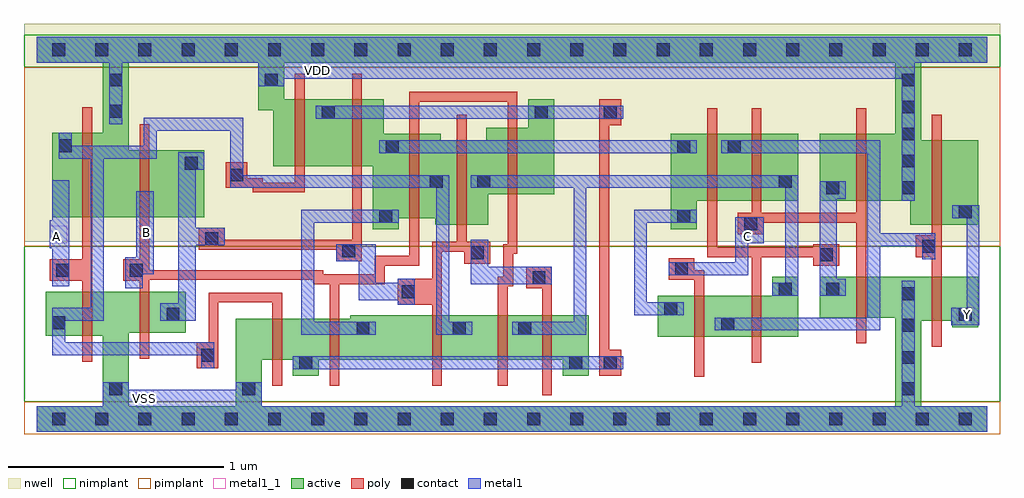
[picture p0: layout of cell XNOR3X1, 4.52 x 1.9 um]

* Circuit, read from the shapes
.subckt XNOR3X1 A B C VDD VSS Y
M1 VSS A n1 VSS nfet w=0.205u l=0.045u
M2 n2 B VSS VSS nfet w=0.19u l=0.045u
M3 n3 n1 VSS VSS nfet w=0.19u l=0.045u
M4 n4 B n3 VSS nfet w=0.19u l=0.045u
M5 n1 n2 n4 VSS nfet w=0.205u l=0.045u
M6 n5 B n1 VSS nfet w=0.205u l=0.045u
M7 n3 n2 n5 VSS nfet w=0.205u l=0.045u
M8 n6 C n4 VSS nfet w=0.19u l=0.045u
M9 n5 n7 n6 VSS nfet w=0.19u l=0.045u
M10 VSS C n7 VSS nfet w=0.19u l=0.045u
M11 Y n6 VSS VSS nfet w=0.205u l=0.045u
M12 VDD A n1 VDD pfet w=0.39u l=0.045u
M13 n2 B VDD VDD pfet w=0.31u l=0.045u
M14 n3 n1 VDD VDD pfet w=0.31u l=0.045u
M15 n4 n2 n3 VDD pfet w=0.31u l=0.045u
M16 n1 B n4 VDD pfet w=0.39u l=0.045u
M17 n5 n2 n1 VDD pfet w=0.39u l=0.045u
M18 n3 B n5 VDD pfet w=0.31u l=0.045u
M19 n6 n7 n4 VDD pfet w=0.31u l=0.045u
M20 n5 C n6 VDD pfet w=0.31u l=0.045u
M21 VDD C n7 VDD pfet w=0.31u l=0.045u
M22 Y n6 VDD VDD pfet w=0.39u l=0.045u
.ends

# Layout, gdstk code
import gdstk
lib = gdstk.Library(unit=1e-6, precision=5e-10)
def R(c, l, rs):  # rectangles x0, y0, x1, y1
    for r in rs: c.add(gdstk.rectangle(r[:2], r[2:], *l))
def A(c, l, x, y, w, h, nx, ny, dx, dy):  # array of equal rectangles
    R(c, l, [(x+i*dx, y+j*dy, x+i*dx+w, y+j*dy+h) for i in range(nx) for j in range(ny)])
def P(c, l, *ps):  # polygons
    for p in ps: c.add(gdstk.Polygon(p, *l))
active = (1, 0)
nwell = (2, 0)
poly = (3, 0)
nimplant = (4, 0)
pimplant = (5, 0)
contact = (6, 0)
metal1 = (7, 0)
metal1_1 = (7, 1)

xnor3x1 = lib.new_cell('XNOR3X1')
P(xnor3x1, active, [(2.935,1.32),(3.525,1.32),(3.525,1.01),(3.055,1.01),(3.055,0.88),(2.935,0.88)],
  [(0,1.77),(4.4,1.77),(4.4,1.65),(4.095,1.65),(4.095,1.29),(4.36,1.29),(4.36,0.9),(4.045,0.9),(4.045,1.01),(3.625,1.01),(3.625,1.32),(3.975,1.32),(3.975,1.65),(1.145,1.65),(1.145,1.48),(1.605,1.48),(1.605,1.32),(1.87,1.32),(1.87,1.29),(2.08,1.29),(2.08,1.35),(2.275,1.35),(2.275,1.48),(2.395,1.48),(2.395,1.04),(2.09,1.04),(2.09,0.9),(1.845,0.9),(1.845,0.93),(1.675,0.93),(1.675,0.88),(1.555,0.88),(1.555,1.17),(1.095,1.17),(1.095,1.43),(1.025,1.43),(1.025,1.65),(0.425,1.65),(0.425,1.245),(0.775,1.245),(0.775,0.935),(0.07,0.935),(0.07,1.325),(0.305,1.325),(0.305,1.65),(0,1.65)],
  [(0.04,0.59),(0.69,0.59),(0.69,0.4),(0.425,0.4),(0.425,0.06),(0.92,0.06),(0.92,0.465),(1.45,0.465),(1.45,0.48),(2.555,0.48),(2.555,0.2),(2.435,0.2),(2.435,0.275),(1.305,0.275),(1.305,0.2),(1.185,0.2),(1.185,0.275),(1.04,0.275),(1.04,0.06),(3.975,0.06),(3.975,0.47),(3.625,0.47),(3.625,0.66),(4.36,0.66),(4.36,0.425),(4.24,0.425),(4.24,0.455),(4.095,0.455),(4.095,0.06),(4.4,0.06),(4.4,-0.06),(0,-0.06),(0,0.06),(0.305,0.06),(0.305,0.385),(0.04,0.385)],
  [(3.405,0.66),(3.525,0.66),(3.525,0.38),(2.875,0.38),(2.875,0.57),(3.405,0.57)])
R(xnor3x1, nwell, [(-0.06,0.82,4.46,1.83)])
P(xnor3x1, poly, [(0.21,1.445),(0.255,1.445),(0.255,0.265),(0.21,0.265),(0.21,0.64),(0.06,0.64),(0.06,0.74),(0.21,0.74)],
  [(1.725,1.515),(2.225,1.515),(2.225,0.765),(2.205,0.765),(2.205,0.615),(2.18,0.615),(2.18,0.155),(2.135,0.155),(2.135,0.66),(2.16,0.66),(2.16,0.81),(2.18,0.81),(2.18,1.47),(1.77,1.47),(1.77,0.71),(1.61,0.71),(1.61,0.625),(1.4,0.625),(1.4,0.155),(1.355,0.155),(1.355,0.625),(1.28,0.625),(1.28,0.645),(0.52,0.645),(0.52,0.28),(0.475,0.28),(0.475,0.64),(0.4,0.64),(0.4,0.74),(0.475,0.74),(0.475,1.365),(0.52,1.365),(0.52,0.69),(1.325,0.69),(1.325,0.67),(1.565,0.67),(1.565,0.755),(1.725,0.755)],
  [(3.105,1.44),(3.15,1.44),(3.15,0.795),(3.595,0.795),(3.595,0.81),(3.715,0.81),(3.715,0.71),(3.595,0.71),(3.595,0.75),(3.355,0.75),(3.355,0.26),(3.31,0.26),(3.31,0.75),(3.105,0.75)],
  [(0.875,1.19),(0.975,1.19),(0.975,1.115),(1.045,1.115),(1.045,1.095),(1.195,1.095),(1.195,1.6),(1.24,1.6),(1.24,1.05),(1,1.05),(1,1.07),(0.875,1.07)],
  [(0.75,0.885),(0.87,0.885),(0.87,0.83),(1.46,0.83),(1.46,1.6),(1.505,1.6),(1.505,0.73),(1.385,0.73),(1.385,0.785),(0.75,0.785)],
  [(1.945,1.41),(1.99,1.41),(1.99,0.82),(2.1,0.82),(2.1,0.72),(1.98,0.72),(1.98,0.775),(1.875,0.775),(1.875,0.155),(1.83,0.155),(1.83,0.53),(1.67,0.53),(1.67,0.65),(1.83,0.65),(1.83,0.82),(1.945,0.82)],
  [(2.605,1.48),(2.705,1.48),(2.705,1.36),(2.65,1.36),(2.65,0.32),(2.705,0.32),(2.705,0.2),(2.605,0.2)],
  [(3.31,1.44),(3.355,1.44),(3.355,0.955),(3.795,0.955),(3.795,1.44),(3.84,1.44),(3.84,0.35),(3.795,0.35),(3.795,0.91),(3.365,0.91),(3.365,0.855),(3.245,0.855),(3.245,0.955),(3.31,0.955)],
  [(4.145,1.41),(4.19,1.41),(4.19,0.335),(4.145,0.335),(4.145,0.75),(4.07,0.75),(4.07,0.85),(4.145,0.85)],
  [(0.795,0.585),(1.135,0.585),(1.135,0.155),(1.09,0.155),(1.09,0.54),(0.84,0.54),(0.84,0.235),(0.74,0.235),(0.74,0.355),(0.795,0.355)],
  [(2.265,0.705),(2.385,0.705),(2.385,0.11),(2.34,0.11),(2.34,0.605),(2.265,0.605)],
  [(2.925,0.745),(3.045,0.745),(3.045,0.69),(3.09,0.69),(3.09,0.195),(3.045,0.195),(3.045,0.645),(2.925,0.645)])
R(xnor3x1, nimplant, [(-0.06,0.08,4.46,0.8), (-0.06,1.63,4.46,1.78)])
R(xnor3x1, pimplant, [(-0.06,-0.07,4.46,0.08), (-0.06,0.8,4.46,1.63)])
A(xnor3x1, contact, 0.07, -0.03, 0.06, 0.06, 22, 2, 0.2, 1.71)
A(xnor3x1, contact, 4.005, 1.04, 0.06, 0.06, 1, 5, 0, 0.125)
R(xnor3x1, contact, [(0.335,0.11,0.395,0.17), (0.95,0.11,1.01,0.17), (4.005,0.11,4.065,0.17), (1.215,0.23,1.275,0.29), (2.465,0.23,2.525,0.29), (2.625,0.23,2.685,0.29), (4.005,0.255,4.065,0.315), (0.76,0.265,0.82,0.325), (1.48,0.39,1.54,0.45), (1.925,0.39,1.985,0.45), (2.23,0.39,2.29,0.45), (4.005,0.405,4.065,0.465), (3.17,0.41,3.23,0.47), (0.07,0.415,0.13,0.475), (0.6,0.455,0.66,0.515), (4.27,0.455,4.33,0.515), (2.905,0.48,2.965,0.54), (4.005,0.55,4.065,0.61), (1.69,0.56,1.75,0.62), (3.435,0.57,3.495,0.63), (3.655,0.57,3.715,0.63), (2.295,0.625,2.355,0.685), (0.09,0.66,0.15,0.72), (0.43,0.66,0.49,0.72), (2.955,0.665,3.015,0.725), (3.625,0.73,3.685,0.79), (2.01,0.74,2.07,0.8), (1.415,0.75,1.475,0.81), (4.1,0.77,4.16,0.83), (0.78,0.805,0.84,0.865), (3.275,0.875,3.335,0.935), (1.585,0.91,1.645,0.97), (2.965,0.91,3.025,0.97), (4.27,0.93,4.33,0.99), (3.655,1.04,3.715,1.1), (1.82,1.07,1.88,1.13), (2.04,1.07,2.1,1.13), (3.435,1.07,3.495,1.13), (0.895,1.1,0.955,1.16), (0.685,1.155,0.745,1.215), (1.615,1.23,1.675,1.29), (2.965,1.23,3.025,1.29), (3.2,1.23,3.26,1.29), (0.1,1.235,0.16,1.295), (1.32,1.39,1.38,1.45), (2.305,1.39,2.365,1.45), (2.625,1.39,2.685,1.45), (0.335,1.395,0.395,1.455), (0.335,1.54,0.395,1.6), (1.055,1.54,1.115,1.6)])
R(xnor3x1, metal1, [(1.185,0.23,2.715,0.29), (1.585,1.23,3.055,1.29), (1.29,1.39,2.715,1.45)])
P(xnor3x1, metal1, [(0,1.77),(4.4,1.77),(4.4,1.65),(4.065,1.65),(4.065,1.01),(4.005,1.01),(4.005,1.575),(1.145,1.575),(1.145,1.54),(1.025,1.54),(1.025,1.65),(0.395,1.65),(0.395,1.365),(0.335,1.365),(0.335,1.65),(0,1.65)],
  [(0.495,1.395),(0.955,1.395),(0.955,1.13),(1.91,1.13),(1.91,0.45),(2.015,0.45),(2.015,0.39),(1.85,0.39),(1.85,1.07),(0.895,1.07),(0.895,1.335),(0.555,1.335),(0.555,1.205),(0.31,1.205),(0.31,0.455),(0.13,0.455),(0.13,0.355),(0.82,0.355),(0.82,0.235),(0.76,0.235),(0.76,0.295),(0.07,0.295),(0.07,0.515),(0.25,0.515),(0.25,1.205),(0.1,1.205),(0.1,1.325),(0.16,1.325),(0.16,1.265),(0.495,1.265)],
  [(3.17,1.29),(3.905,1.29),(3.905,0.86),(4.16,0.86),(4.16,0.74),(4.1,0.74),(4.1,0.8),(3.905,0.8),(3.905,0.41),(3.14,0.41),(3.14,0.47),(3.845,0.47),(3.845,1.23),(3.17,1.23)],
  [(0.655,1.235),(0.775,1.235),(0.775,1.155),(0.735,1.155),(0.735,0.885),(0.87,0.885),(0.87,0.805),(0.735,0.805),(0.735,0.455),(0.57,0.455),(0.57,0.535),(0.655,0.535)],
  [(0.07,1.105),(0.15,1.105),(0.15,0.615),(0.07,0.615),(0.07,0.79),(0.06,0.79),(0.06,0.92),(0.07,0.92)],
  [(3.625,1.1),(3.745,1.1),(3.745,1.02),(3.705,1.02),(3.705,0.65),(3.745,0.65),(3.745,0.57),(3.625,0.57)],
  [(2.01,1.13),(3.525,1.13),(3.525,0.57),(3.405,0.57),(3.405,0.63),(3.465,0.63),(3.465,1.07),(2.545,1.07),(2.545,0.39),(2.2,0.39),(2.2,0.45),(2.485,0.45),(2.485,1.07),(2.01,1.07)],
  [(0.46,1.055),(0.54,1.055),(0.54,0.67),(0.49,0.67),(0.49,0.605),(0.41,0.605),(0.41,0.75),(0.46,0.75)],
  [(1.225,0.97),(1.675,0.97),(1.675,0.91),(1.285,0.91),(1.285,0.45),(1.57,0.45),(1.57,0.39),(1.225,0.39)],
  [(1.385,0.81),(1.57,0.81),(1.57,0.63),(1.67,0.63),(1.67,0.65),(1.75,0.65),(1.75,0.53),(1.67,0.53),(1.67,0.55),(1.49,0.55),(1.49,0.73),(1.385,0.73)],
  [(2.01,0.83),(2.09,0.83),(2.09,0.705),(2.385,0.705),(2.385,0.625),(2.01,0.625)],
  [(2.765,0.97),(3.055,0.97),(3.055,0.91),(2.825,0.91),(2.825,0.54),(2.995,0.54),(2.995,0.48),(2.765,0.48)],
  [(3.235,0.935),(3.365,0.935),(3.365,0.815),(3.295,0.815),(3.295,0.665),(2.925,0.665),(2.925,0.725),(3.235,0.725)],
  [(4.24,0.99),(4.365,0.99),(4.365,0.435),(4.235,0.435),(4.235,0.515),(4.305,0.515),(4.305,0.93),(4.24,0.93)],
  [(0.305,0.17),(0.425,0.17),(0.425,0.135),(0.92,0.135),(0.92,0.17),(1.04,0.17),(1.04,0.06),(4.005,0.06),(4.005,0.64),(4.065,0.64),(4.065,0.06),(4.4,0.06),(4.4,-0.06),(0,-0.06),(0,0.06),(0.305,0.06)])
R(xnor3x1, metal1_1, [(0.46,0.055,0.54,0.135), (4.26,0.435,4.34,0.515), (0.06,0.815,0.14,0.895), (0.46,0.815,0.54,0.895), (3.26,0.815,3.34,0.895), (1.26,1.575,1.34,1.655)])
xnor3x1.add(gdstk.Label('Y', (4.308,0.483), layer=7, texttype=0))
xnor3x1.add(gdstk.Label('A', (0.092,0.847), layer=7, texttype=0))
xnor3x1.add(gdstk.Label('B', (0.508,0.863), layer=7, texttype=0))
xnor3x1.add(gdstk.Label('C', (3.292,0.847), layer=7, texttype=0))
xnor3x1.add(gdstk.Label('VDD', (1.3,1.615), layer=7, texttype=0))
xnor3x1.add(gdstk.Label('VSS', (0.5,0.095), layer=7, texttype=0))

lib.write_gds('XNOR3X1.gds')
